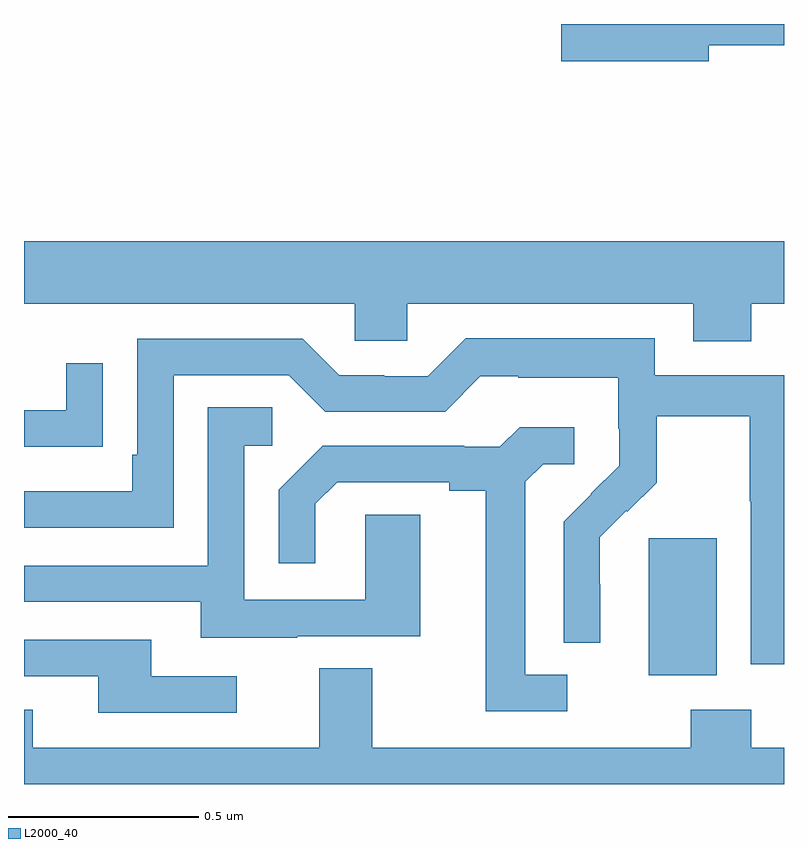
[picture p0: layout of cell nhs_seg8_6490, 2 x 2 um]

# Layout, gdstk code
import gdstk
lib = gdstk.Library(unit=1e-6, precision=1e-09)
def R(c, l, rs):  # rectangles x0, y0, x1, y1
    for r in rs: c.add(gdstk.rectangle(r[:2], r[2:], *l))
def P(c, l, *ps):  # polygons
    for p in ps: c.add(gdstk.Polygon(p, *l))
L2000_40 = (2000, 40)

nhs_seg8_6490 = lib.new_cell('nhs_seg8_6490')
R(nhs_seg8_6490, L2000_40, [(198.644,1118.186,198.823,1118.547)])
P(nhs_seg8_6490, L2000_40, [(198.802,1119.844),(199,1119.844),(199,1119.9),(198.414,1119.9),(198.414,1119.802),(198.802,1119.802)],
  [(198.914,1119.164),(199,1119.164),(199,1119.328),(197,1119.328),(197,1119.164),(197.871,1119.164),(197.871,1119.066),(198.009,1119.066),(198.009,1119.164),(198.761,1119.164),(198.761,1119.065),(198.914,1119.065)],
  [(199,1118.976),(198.66,1118.976),(198.66,1119.073),(198.163,1119.073),(198.063,1118.973),(197.948,1118.973),(197.948,1118.976),(197.829,1118.976),(197.733,1119.072),(197.298,1119.072),(197.298,1118.767),(197.285,1118.767),(197.285,1118.67),(197,1118.67),(197,1118.574),(197.394,1118.574),(197.394,1118.976),(197.697,1118.976),(197.793,1118.88),(198.108,1118.88),(198.201,1118.973),(198.301,1118.973),(198.301,1118.969),(198.564,1118.969),(198.564,1118.835),(198.566,1118.835),(198.566,1118.738),(198.492,1118.664),(198.493,1118.663),(198.42,1118.59),(198.42,1118.272),(198.516,1118.272),(198.516,1118.426),(198.515,1118.426),(198.515,1118.549),(198.585,1118.619),(198.588,1118.616),(198.665,1118.693),(198.665,1118.868),(198.91,1118.868),(198.91,1118.644),(198.912,1118.644),(198.912,1118.215),(199,1118.215)],
  [(197.105,1118.788),(197.207,1118.788),(197.207,1119.007),(197.111,1119.007),(197.111,1118.883),(197,1118.883),(197,1118.787),(197.105,1118.787)],
  [(197.719,1118.289),(198.043,1118.289),(198.043,1118.609),(197.898,1118.609),(197.898,1118.385),(197.58,1118.385),(197.58,1118.79),(197.653,1118.79),(197.653,1118.891),(197.484,1118.891),(197.484,1118.475),(197,1118.475),(197,1118.379),(197.465,1118.379),(197.465,1118.285),(197.719,1118.285)],
  [(198.43,1118.187),(198.319,1118.187),(198.319,1118.695),(198.366,1118.742),(198.448,1118.742),(198.448,1118.839),(198.304,1118.839),(198.252,1118.787),(198.158,1118.787),(198.158,1118.79),(197.786,1118.79),(197.67,1118.674),(197.67,1118.481),(197.767,1118.481),(197.767,1118.637),(197.824,1118.694),(198.119,1118.694),(198.119,1118.672),(198.215,1118.672),(198.215,1118.091),(198.43,1118.091)],
  [(197.56,1118.184),(197.335,1118.184),(197.335,1118.28),(197,1118.28),(197,1118.184),(197.195,1118.184),(197.195,1118.088),(197.56,1118.088)],
  [(199,1117.996),(198.914,1117.996),(198.914,1118.095),(198.754,1118.095),(198.754,1117.996),(197.917,1117.996),(197.917,1118.204),(197.777,1118.204),(197.777,1117.996),(197.023,1117.996),(197.023,1118.095),(197,1118.095),(197,1117.9),(199,1117.9)])

lib.write_gds('nhs_seg8_6490.gds')
